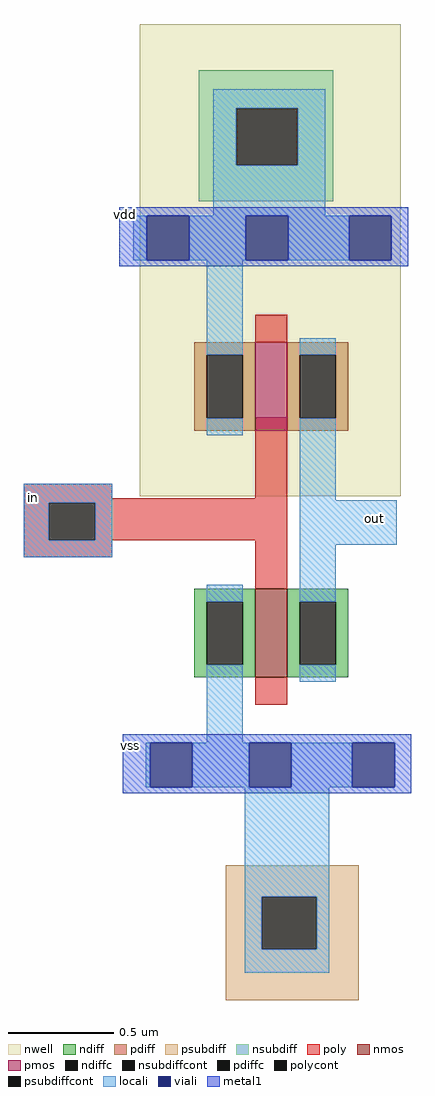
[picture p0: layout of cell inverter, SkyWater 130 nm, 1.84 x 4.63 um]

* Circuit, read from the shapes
.subckt inverter in out vdd vss
XM1 out in vss vss sky130_fd_pr__nfet_01v8 w=0.42 l=0.15
XM2 out in vdd vdd sky130_fd_pr__pfet_01v8 w=0.42 l=0.15
.ends

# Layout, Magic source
magic
tech sky130A
magscale 1 2
<< nwell >>
rect -16 0 232 448
<< psubdiff >>
rect 66 -380 192 -350
rect 66 -430 100 -380
rect 152 -430 192 -380
rect 66 -478 192 -430
<< nsubdiff >>
rect 40 368 168 404
rect 40 314 76 368
rect 134 314 168 368
rect 40 280 168 314
<< psubdiffcont >>
rect 100 -430 152 -380
<< nsubdiffcont >>
rect 76 314 134 368
<< poly >>
rect -126 -2 -42 12
rect 94 -2 124 75
rect -126 -6 124 -2
rect -126 -42 -102 -6
rect -58 -42 124 -6
rect -126 -58 -42 -42
rect 94 -66 124 -42
<< polycont >>
rect -102 -42 -58 -6
<< locali >>
rect 54 368 160 386
rect 54 314 76 368
rect 134 314 160 368
rect 54 266 160 314
rect -22 224 -9 266
rect 31 224 85 266
rect 125 224 183 266
rect 48 134 82 224
rect -126 -6 -42 12
rect -126 -42 -102 -6
rect -58 -42 -42 -6
rect -126 -58 -42 -42
rect 136 -4 170 64
rect 136 -46 228 -4
rect 136 -92 170 -46
rect 48 -234 82 -172
rect -10 -276 -6 -234
rect 34 -276 88 -234
rect 128 -276 186 -234
rect 84 -380 164 -276
rect 84 -430 100 -380
rect 152 -430 164 -380
rect 84 -452 164 -430
<< viali >>
rect -9 224 31 266
rect 85 224 125 266
rect 183 224 223 266
rect -6 -276 34 -234
rect 88 -276 128 -234
rect 186 -276 226 -234
<< metal1 >>
rect -35 266 239 274
rect -35 224 -9 266
rect 31 224 85 266
rect 125 224 183 266
rect 223 224 239 266
rect -35 218 239 224
rect -32 -234 242 -226
rect -32 -276 -6 -234
rect 34 -276 88 -234
rect 128 -276 186 -234
rect 226 -276 242 -234
rect -32 -282 242 -276
use sky130_fd_pr__pfet_01v8_ykwexw  sky130_fd_pr__pfet_01v8_ykwexw_0
transform 1 0 109 0 1 104
box -109 -104 109 104
use sky130_fd_pr__nfet_01v8_8mr83b  sky130_fd_pr__nfet_01v8_8mr83b_0
transform 1 0 109 0 1 -130
box -73 -68 73 68
<< labels >>
flabel locali -120 -4 -114 2 0 FreeSans 800 0 0 0 in
port 0 nsew
flabel locali 204 -24 210 -18 0 FreeSans 800 0 0 0 out
port 1 nsew
flabel metal1 -32 264 -26 270 0 FreeSans 800 0 0 0 vdd
port 2 nsew
flabel metal1 -28 -240 -22 -234 0 FreeSans 800 0 0 0 vss
port 3 nsew
<< end >>

# cell sky130_fd_pr__pfet_01v8_ykwexw: kit device sky130_fd_pr__pfet_01v8, w 0.42 l 0.15 m 1 nf 1 diffcov 100 polycov 100 guard 0 glc 0 grc 0 gtc 0 gbc 0 tbcov 100 rlcov 100 topc 0 botc 0 poverlap 0 doverlap 1 lmin 0.15 wmin 0.42 compatible {sky130_fd_pr__pfet_01v8 sky130_fd_pr__pfet_01v8_lvt sky130_fd_pr__pfet_01v8_hvt sky130_fd_pr__pfet_g5v0d10v5} full_metal 0

# cell sky130_fd_pr__nfet_01v8_8mr83b: kit device sky130_fd_pr__nfet_01v8, w 0.420 l 0.150 m 1 nf 1 diffcov 100 polycov 100 guard 0 glc 0 grc 0 gtc 0 gbc 0 tbcov 100 rlcov 100 topc 0 botc 0 poverlap 0 doverlap 1 lmin 0.15 wmin 0.42 compatible {sky130_fd_pr__nfet_01v8 sky130_fd_pr__nfet_01v8_lvt sky130_fd_bs_flash__special_sonosfet_star sky130_fd_pr__nfet_g5v0d10v5 sky130_fd_pr__nfet_05v0_nvt} full_metal 0
